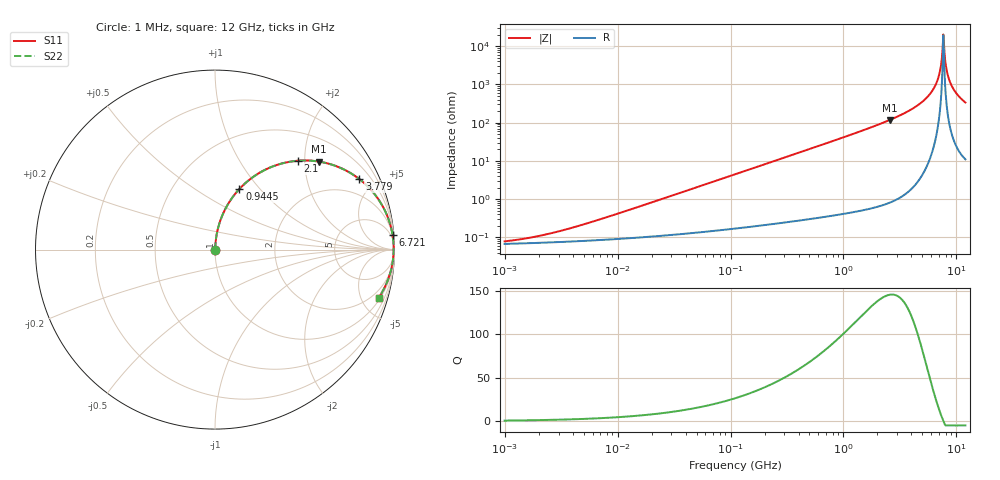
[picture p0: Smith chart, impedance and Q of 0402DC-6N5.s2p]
# MHz  S  MA  R  50
!Freq  MagS11  AngS11  MagS21  AngS21  MagS12  AngS12  MagS22  AngS22
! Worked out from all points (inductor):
!   801 points, 1 MHz to 12 GHz, reference 50 ohm
!   read as one part in series: L = 6.5 nH near 6.18 MHz
!   highest Q = 145 at 2.564 GHz (marker M1), where L = 7.32 nH
!   self-resonance near 7.649 GHz
!   S11 on the Smith chart (normalised r, x): 1 MHz: 1.00, +0.00; 944.5 MHz: 1.01, +0.78; 2.1 GHz: 1.01, +1.85; 3.779 GHz: 1.03, +4.08; 6.721 GHz: 2, +24; 12 GHz: 1.22, -6.76
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1  0.0007914 31.0  0.9993 -0.0  0.9993 -0.0  0.0007914 31.0
2.096551  0.001122 49.6  0.9993 -0.0  0.9993 -0.0  0.001122 49.6
4.828773  0.00213 67.6  0.9992 -0.1  0.9992 -0.1  0.00213 67.6
23.04466  0.009464 82.8  0.9989 -0.5  0.9989 -0.5  0.009464 82.8
109.9775  0.04484 85.3  0.9973 -2.6  0.9973 -2.6  0.04484 85.3
524.8526  0.2099 77.1  0.9747 -12.1  0.9747 -12.1  0.2099 77.1
944.4965  0.3635 68.1  0.9279 -21.3  0.9279 -21.3  0.3635 68.1
2100.013  0.6775 46.9  0.7307 -42.6  0.7307 -42.6  0.6775 46.9
2534.394  0.7554 40.5  0.6501 -49.1  0.6501 -49.1  0.7554 40.5
2564.351  0.7601 40.1  0.6446 -49.5  0.6446 -49.5  0.7601 40.1
3779.07  0.895 26.0  0.439 -63.5  0.439 -63.5  0.895 26.0
5439.839  0.9727 12.6  0.2174 -76.5  0.2174 -76.5  0.9727 12.6
6118.129  0.986 8.2  0.1434 -80.3  0.1434 -80.3  0.986 8.2
6721.167  0.9925 4.8  0.0838 -82.5  0.0838 -82.5  0.9925 4.8
7044.622  0.9943 3.1  0.054 -82.4  0.054 -82.4  0.9943 3.1
7470.919  0.9953 0.9  0.01709 -73.7  0.01709 -73.7  0.9953 0.9
7738.981  0.9953 -0.3  0.00758 51.1  0.00758 51.1  0.9953 -0.3
7923.012  0.9949 -1.2  0.02142 75.7  0.02142 75.7  0.9949 -1.2
8402.463  0.993 -3.3  0.05839 81.5  0.05839 81.5  0.993 -3.3
9016.255  0.9889 -5.9  0.103 80.8  0.103 80.8  0.9889 -5.9
10260.35  0.9758 -10.6  0.1842 77.2  0.1842 77.2  0.9758 -10.6
12000  0.9505 -16.3  0.2812 71.8  0.2812 71.8  0.9505 -16.3
